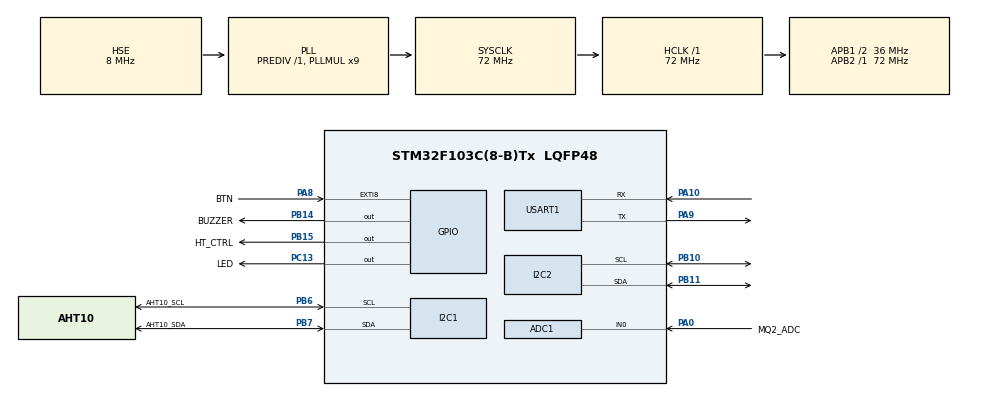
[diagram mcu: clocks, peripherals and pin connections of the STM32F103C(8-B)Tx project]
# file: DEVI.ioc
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ADC1.Channel-0\#ChannelRegularConversion=ADC_CHANNEL_0
ADC1.NbrOfConversionFlag=1
ADC1.Rank-0\#ChannelRegularConversion=1
ADC1.SamplingTime-0\#ChannelRegularConversion=ADC_SAMPLETIME_239CYCLES_5
ADC1.master=1
I2C1.I2C_Mode=I2C_Standard
Mcu.Family=STM32F1
Mcu.Name=STM32F103C(8-B)Tx
Mcu.Package=LQFP48
NVIC.EXTI9_5_IRQn=true\:2\:0\:true\:false\:true\:true\:true\:true
NVIC.PriorityGroup=NVIC_PRIORITYGROUP_4
NVIC.RTC_IRQn=true\:1\:0\:true\:false\:true\:true\:true\:true
NVIC.USART1_IRQn=true\:2\:0\:true\:false\:true\:true\:true\:true
PA0-WKUP.GPIO_Label=MQ2_ADC
PA0-WKUP.Signal=ADCx_IN0
PA10.Mode=Asynchronous
PA10.Signal=USART1_RX
PA13.Mode=Serial_Wire
PA13.Signal=SYS_JTMS-SWDIO
PA14.Mode=Serial_Wire
PA14.Signal=SYS_JTCK-SWCLK
PA8.GPIO_Label=BTN
PA8.GPIO_ModeDefaultEXTI=GPIO_MODE_IT_FALLING
PA8.Signal=GPXTI8
PA9.Mode=Asynchronous
PA9.Signal=USART1_TX
PB10.Mode=I2C
PB10.Signal=I2C2_SCL
PB11.Mode=I2C
PB11.Signal=I2C2_SDA
PB14.GPIO_Label=BUZZER
PB14.Signal=GPIO_Output
PB15.GPIO_Label=HT_CTRL
PB15.Signal=GPIO_Output
PB6.GPIO_Label=AHT10_SCL
PB6.Mode=I2C
PB6.Signal=I2C1_SCL
PB7.GPIO_Label=AHT10_SDA
PB7.Mode=I2C
PB7.Signal=I2C1_SDA
PC13-TAMPER-RTC.GPIO_Label=LED
PC13-TAMPER-RTC.Signal=GPIO_Output
PC14-OSC32_IN.Mode=LSE-External-Oscillator
PC14-OSC32_IN.Signal=RCC_OSC32_IN
PC15-OSC32_OUT.Mode=LSE-External-Oscillator
PC15-OSC32_OUT.Signal=RCC_OSC32_OUT
PD0-OSC_IN.Mode=HSE-External-Oscillator
PD0-OSC_IN.Signal=RCC_OSC_IN
PD1-OSC_OUT.Mode=HSE-External-Oscillator
PD1-OSC_OUT.Signal=RCC_OSC_OUT
ProjectManager.HeapSize=0x200
ProjectManager.StackSize=0x400
ProjectManager.TargetToolchain=STM32CubeIDE
RCC.ADCPresc=RCC_ADCPCLK2_DIV6
RCC.AHBFreq_Value=72000000
RCC.APB1CLKDivider=RCC_HCLK_DIV2
RCC.APB1Freq_Value=36000000
RCC.APB1TimFreq_Value=72000000
RCC.APB2Freq_Value=72000000
RCC.APB2TimFreq_Value=72000000
RCC.HCLKFreq_Value=72000000
RCC.PLLMUL=RCC_PLL_MUL9
RCC.PLLSourceVirtual=RCC_PLLSOURCE_HSE
RCC.RTCClockSelection=RCC_RTCCLKSOURCE_LSE
RCC.SYSCLKFreq_VALUE=72000000
RCC.SYSCLKSource=RCC_SYSCLKSOURCE_PLLCLK
RCC.USBFreq_Value=72000000
RTC.Date=23
RTC.Format=RTC_FORMAT_BIN
RTC.Hours=17
RTC.Minutes=56
RTC.Month=RTC_MONTH_SEPTEMBER
RTC.WeekDay=RTC_WEEKDAY_SATURDAY
RTC.Year=23
SH.ADCx_IN0.0=ADC1_IN0,IN0
USART1.VirtualMode=VM_ASYNC
VP_RTC_VS_RTC_Activate.Mode=RTC_Enabled
VP_RTC_VS_RTC_Calendar.Mode=RTC_Calendar
board=custom

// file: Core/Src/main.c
/* USER CODE BEGIN Header */
/* USER CODE END Header */
#include "main.h"

/* USER CODE BEGIN Includes */
#include "LiquidCrystal_I2C.h"
#include <stdbool.h>
#include <string.h>
#include <stdio.h>
#include <stdarg.h>
#include <math.h>
#include <stdlib.h>

/* USER CODE END Includes */

/* USER CODE BEGIN PTD */
typedef enum {
	INIT=0,
	IDLE,
	HEATING,
	MEASURING,
	COMMUNICATING
} StateDevice_Typdef;

typedef struct
{
	uint8_t btn_current;
	uint8_t btn_last;
	uint8_t btn_filter;
	bool is_debouncing;
	uint32_t time_deboune;
	uint32_t time_start_press;
	bool is_press_timeout;
	GPIO_TypeDef *GPIOx;
	uint16_t GPIO_Pin;
} Button_Typdef;

typedef struct
{
	GPIO_TypeDef *HT_GPIOx;
	uint16_t HT_GPIO_Pin;
	uint32_t start_heating_time;
	uint32_t previous_heating_time;
	ADC_HandleTypeDef* hadc;
	uint32_t Channel;
	uint32_t adc_value;
	bool is_heating;
	uint32_t ppm;
} MQSensor_Typdef;

typedef struct
{
	I2C_HandleTypeDef *hi2c;
	uint16_t SensAddress;
	float temp;
	float humi;
} AHTSensor_Typdef;

#pragma pack(1)
typedef struct {
	uint8_t flag;
	RTC_TimeTypeDef sTime;
	RTC_DateTypeDef sDate;
	uint32_t ppm;
	float humi;
	float tem;
} Sensor_Data_Typdef;
#pragma pack(1)

typedef struct {
	HAL_StatusTypeDef status;
	uint32_t pageError;

} MLB_EraseError;

/* USER CODE END PTD */

/* USER CODE BEGIN PD */
#define RTC_BKP_SET_TIME 0x2606
#define EL 5000
#define SHORT_PRESS_TIME 1000
#define HOLD_DOWN_TIME 3000
#define AHT10_ADDR 0x38

#define sizeofBuff 20

#define ADDRESS_DATA_STORAGE (0x08000000 + 63*1024)

#define SEND_TEST

/* USER CODE END PD */

ADC_HandleTypeDef hadc1;

I2C_HandleTypeDef hi2c1;
I2C_HandleTypeDef hi2c2;

RTC_HandleTypeDef hrtc;

UART_HandleTypeDef huart1;

/* USER CODE BEGIN PV */
LiquidCrystal_I2C hlcd;
uint8_t press_count = 0;
uint8_t double_count = 0;
uint8_t hold_count = 0;
bool flag = false;
Button_Typdef button1;
MQSensor_Typdef MQSensor;
AHTSensor_Typdef AHTSensor;
StateDevice_Typdef stateDevice = INIT;
Sensor_Data_Typdef data;

uint8_t rx_buffer[sizeofBuff];
uint8_t tx_buffer[sizeofBuff];
bool uart_flag = false;
bool ext_param = false;
bool disp_flag = true;
uint8_t ret;

float R0;
float Rs;
float RL = 1;
uint32_t var_EL = EL;

uint8_t arr_w[10] = {1,2,3,4,5,6,7,8,9,10};
uint8_t arr_r[10];
Sensor_Data_Typdef data_r;
Sensor_Data_Typdef data_w;

uint8_t setTime_flag=0;
uint8_t setDate_flag=0;
uint8_t setLevel_flag=0;

/* USER CODE END PV */

void SystemClock_Config(void);
static void MX_GPIO_Init(void);
static void MX_I2C1_Init(void);
static void MX_I2C2_Init(void);
static void MX_USART1_UART_Init(void);
static void MX_ADC1_Init(void);
static void MX_RTC_Init(void);
/* USER CODE BEGIN PFP */

void MQSensor_powerOn(MQSensor_Typdef *sensor, bool power);
void MQSensor_Init(MQSensor_Typdef *sensor, GPIO_TypeDef *HT_GPIOx, uint16_t HT_GPIO_Pin, ADC_HandleTypeDef* hadc,  uint32_t Channel);
HAL_StatusTypeDef MQSensor_get_adc(MQSensor_Typdef *sensor);
void MQSensor_powerOn(MQSensor_Typdef *sensor, bool power);
void MQSensor_calc(MQSensor_Typdef *sensor);

void AHTSensor_Init(AHTSensor_Typdef *sensor, I2C_HandleTypeDef *hi2c, uint16_t SensAddress);
void AHTSensor_Read(AHTSensor_Typdef *sensor);

void btn_pressing_callback(Button_Typdef *ButtonX);
void btn_press_short_callback(Button_Typdef *ButtonX);
void btn_release_callback(Button_Typdef *ButtonX);
void btn_press_timeout_callback(Button_Typdef *ButtonX);
void button_init(Button_Typdef *ButtonX,GPIO_TypeDef *GPIOx, uint16_t GPIO_Pin);
void button_handle(Button_Typdef *ButtonX);

void heating_display();
void measuring_display(bool isCpltMeas);
void idle_display();
void store_data();
void warning();
void send_OK();
void send_allData();
void communicating_handle();
void uart_handle();

HAL_StatusTypeDef send_test();

MLB_EraseError Flash_Earse(uint32_t address);

HAL_StatusTypeDef Flash_Write_Int(uint32_t address, int value);
void Flash_Write_Float(uint32_t address, float value);
HAL_StatusTypeDef Flash_Write_Array(uint32_t address, uint8_t *arr,  uint16_t len);
HAL_StatusTypeDef Flash_Write_Struct(uint32_t address, Sensor_Data_Typdef data);

int	Flash_Read_Int(uint32_t address);
float Flash_Read_Fload(uint32_t address);
HAL_StatusTypeDef Flash_Read_Array(uint32_t address, uint8_t *arr,  uint16_t len);
HAL_StatusTypeDef Flash_Read_Struct(uint32_t address, Sensor_Data_Typdef *data);

HAL_StatusTypeDef sendUart(UART_HandleTypeDef *huart, const char* str, ...);
HAL_StatusTypeDef setTime(RTC_HandleTypeDef *hrtc, char* str);
HAL_StatusTypeDef setDate(RTC_HandleTypeDef *hrtc, char* str);

/* USER CODE END PFP */

/* USER CODE BEGIN 0 */

void btn_pressing_callback(Button_Typdef *ButtonX)
{
	if (stateDevice == IDLE) {
		MQSensor_powerOn(&MQSensor, true);
		MQSensor.start_heating_time = HAL_GetTick();
		stateDevice = HEATING;
		lcd_clear_display(&hlcd);
		return;
	}

	if (stateDevice == HEATING) {
		lcd_clear_display(&hlcd);
		MQSensor_powerOn(&MQSensor, false);
		stateDevice = IDLE;
		return;
	}

	if (stateDevice == COMMUNICATING) {
		lcd_clear_display(&hlcd);
		stateDevice = IDLE;
		char str[] = "AHT03\n";
		HAL_UART_Transmit(&huart1, (uint8_t*) str, strlen(str), 500);
		return;
	}

}

void btn_press_short_callback(Button_Typdef *ButtonX)
{

}

void btn_release_callback(Button_Typdef *ButtonX)
{

}

void btn_press_timeout_callback(Button_Typdef *ButtonX)
{
	hold_count++;
	flag = true;
}

void button_init(Button_Typdef *ButtonX,GPIO_TypeDef *GPIOx, uint16_t GPIO_Pin)
{
	ButtonX->GPIOx = GPIOx;
	ButtonX->GPIO_Pin = GPIO_Pin;
}

void button_handle(Button_Typdef *ButtonX)
{
	/* */
	uint8_t sta = HAL_GPIO_ReadPin(ButtonX->GPIOx, ButtonX->GPIO_Pin);
	if (sta != ButtonX->btn_filter) {
		ButtonX->btn_filter = sta;
		ButtonX->is_debouncing = true;
		ButtonX->time_deboune = HAL_GetTick();
	}

	/* */
	if ((sta == ButtonX->btn_filter) && (HAL_GetTick() - ButtonX->time_deboune) > 15) {
		ButtonX->is_debouncing = false;
		ButtonX->btn_current = ButtonX->btn_filter;
	}

	/* */
	if (ButtonX->btn_current != ButtonX->btn_last)
	{
		if(ButtonX->btn_current == GPIO_PIN_RESET) // Press the button
		{
			ButtonX->is_press_timeout = true;
			btn_pressing_callback(ButtonX);
			ButtonX->time_start_press = HAL_GetTick();
		}
		else if(ButtonX->btn_current == GPIO_PIN_SET) // Release the button
		{
			if(HAL_GetTick() - ButtonX->time_start_press <= SHORT_PRESS_TIME)
			{
				btn_press_short_callback(ButtonX);
			}
			btn_release_callback(ButtonX);
			ButtonX->is_press_timeout = false;
		}
		ButtonX->btn_last = ButtonX->btn_current;
	}

	/* */
	if(ButtonX->is_press_timeout && (HAL_GetTick() - ButtonX->time_start_press >= HOLD_DOWN_TIME))
	{
		ButtonX->is_press_timeout = false;
		btn_press_timeout_callback(ButtonX);
	}

} /* END button_handle */

void MQSensor_Init(MQSensor_Typdef *sensor, GPIO_TypeDef *HT_GPIOx, uint16_t HT_GPIO_Pin, ADC_HandleTypeDef* hadc,  uint32_t Channel)
{
	sensor->HT_GPIOx = HT_GPIOx;
	sensor->HT_GPIO_Pin = HT_GPIO_Pin;
	sensor->hadc = hadc;
	sensor->Channel = Channel;

	HAL_ADCEx_Calibration_Start(sensor->hadc);

}

HAL_StatusTypeDef MQSensor_get_adc(MQSensor_Typdef *sensor)
{
	MQSensor_powerOn(&MQSensor, true);
	HAL_Delay(10);
	HAL_StatusTypeDef ret = HAL_OK;
	ADC_ChannelConfTypeDef sConfig = {0};
	sConfig.Channel = sensor->Channel;
	sConfig.Rank = ADC_REGULAR_RANK_1;
	sConfig.SamplingTime = ADC_SAMPLETIME_239CYCLES_5;
	if (HAL_ADC_ConfigChannel(sensor->hadc, &sConfig) != HAL_OK)
	{
		Error_Handler();
	}

	ret = HAL_ADC_Start(sensor->hadc);
	if(ret) {
		MQSensor_powerOn(&MQSensor, false);
		return ret;
	}
	ret = HAL_ADC_PollForConversion(sensor->hadc, 1000);
	if(ret) {
		MQSensor_powerOn(&MQSensor, false);
		return ret;
	}
	sensor->adc_value = HAL_ADC_GetValue(sensor->hadc);
	ret = HAL_ADC_Stop(sensor->hadc);
	if(ret) {
		MQSensor_powerOn(&MQSensor, false);
		return ret;
	}
	MQSensor_powerOn(&MQSensor, false);
	return ret;
}

void MQSensor_powerOn(MQSensor_Typdef *sensor, bool power)
{
	HAL_GPIO_WritePin(sensor->HT_GPIOx, sensor->HT_GPIO_Pin, power ? GPIO_PIN_SET : GPIO_PIN_RESET);
}

void MQSensor_calc(MQSensor_Typdef *sensor)
{
//	sensor->ppm = sensor->adc_value;
	Rs = 5*RL/((float)MQSensor.adc_value*3.3/4095)-RL;
	float y = Rs/R0;
	sensor->ppm = pow(10, (log(y)-0.85)/(-0.56));

}

void AHTSensor_Init(AHTSensor_Typdef *sensor, I2C_HandleTypeDef *hi2c, uint16_t SensAddress)
{
	sensor->SensAddress = SensAddress;
	sensor->hi2c = hi2c;

	uint8_t cmd[3];
	cmd[0] = 0xA8;
	cmd[1] = 0x00;
	cmd[2] = 0x00;
	HAL_I2C_Master_Transmit(sensor->hi2c, SensAddress<<1, cmd, 3, 1000);
	HAL_Delay(450);

	cmd[0] = 0xE1;
	cmd[1] = 0x08;
	cmd[2] = 0x00;
	HAL_I2C_Master_Transmit(sensor->hi2c, SensAddress<<1, cmd, 3, 1000);
	HAL_Delay(450);

}

void AHTSensor_Read(AHTSensor_Typdef *sensor)
{
	uint8_t cmd[3];
	uint8_t buff[6];
	cmd[0] = 0xAC;
	cmd[1] = 0x08;
	cmd[2] = 0x00;
	HAL_I2C_Master_Transmit(sensor->hi2c, sensor->SensAddress<<1, cmd, 3, 1000);
	HAL_Delay(300);
	HAL_I2C_Master_Receive(sensor->hi2c, sensor->SensAddress<<1, buff, 6, 1000);
	sensor->humi = (buff[1]<<12 | buff[2]<<4 | (buff[3] & 0xf0) >> 4) * 100.0 / (1 << 20);
	sensor->temp = ((buff[3] & 0xf) << 16 | buff[4] << 8 | buff[5]) * 200.0 / (1 << 20) - 55;
}

MLB_EraseError Flash_Earse(uint32_t address)
{
	MLB_EraseError eraseError;
	eraseError.status = HAL_ERROR;
	eraseError.pageError = 0;

	FLASH_EraseInitTypeDef EraseInit;
	EraseInit.Banks = FLASH_BANK_1;
	EraseInit.TypeErase = FLASH_TYPEERASE_PAGES;
	EraseInit.PageAddress = address;
	EraseInit.NbPages = 1;

	eraseError.status = HAL_FLASH_Unlock();
	if(eraseError.status)
		return eraseError;

	eraseError.status = HAL_FLASHEx_Erase(&EraseInit, &eraseError.pageError);
	if(eraseError.status)
		return eraseError;

	eraseError.status = HAL_FLASH_Lock();
	if(eraseError.status)
		return eraseError;

	return eraseError;
}

HAL_StatusTypeDef Flash_Write_Array(uint32_t address, uint8_t *arr,  uint16_t len)
{
	HAL_StatusTypeDef ret = HAL_OK;
	uint16_t *pt = (uint16_t *)arr;
	ret = HAL_FLASH_Unlock();
	if (ret)
		return ret;
	for (uint16_t i = 0; i < (len+1)/2; ++i) {
		ret = HAL_FLASH_Program(FLASH_TYPEPROGRAM_HALFWORD, address + 2*i, *pt);
		if (ret)
			return ret;
		pt++;
	}
	ret = HAL_FLASH_Lock();
	if (ret)
		return ret;

	return ret;
}

HAL_StatusTypeDef Flash_Read_Array(uint32_t address, uint8_t *arr,  uint16_t len)
{
	HAL_StatusTypeDef ret = HAL_OK;
	uint16_t *pt = (uint16_t *)arr;
	ret = HAL_FLASH_Unlock();
	if (ret)
		return ret;
	for (uint16_t i = 0; i < (len+1)/2; ++i) {
		*pt = *(uint16_t *)(address + 2*i);
		if (ret)
			return ret;
		pt++;
	}
	ret = HAL_FLASH_Lock();
	if (ret)
		return ret;
	return ret;
}

HAL_StatusTypeDef Flash_Write_Struct(uint32_t address, Sensor_Data_Typdef data)
{
	HAL_StatusTypeDef ret = Flash_Write_Array(address, (uint8_t*)&data, sizeof(data));
	return ret;
}

HAL_StatusTypeDef Flash_Read_Struct(uint32_t address, Sensor_Data_Typdef *data)
{
	HAL_StatusTypeDef ret = Flash_Read_Array(address, (uint8_t*)data, sizeof(Sensor_Data_Typdef));
	return ret;
}

void heating_display()
{
	if ((HAL_GetTick()-MQSensor.previous_heating_time) < 60000 && MQSensor.is_heating) {
		stateDevice = MEASURING;
		return;
	}
	uint8_t tick = 20 - (HAL_GetTick()-MQSensor.start_heating_time)/1000;
	lcd_set_cursor(&hlcd, 0, 0);
	lcd_printf(&hlcd, "Heating %2ds", tick);
	if (tick == 255) {
		MQSensor.previous_heating_time = HAL_GetTick();
		MQSensor.is_heating = true;
		stateDevice = MEASURING;
	}
}

void measuring_display(bool isCpltMeas)
{
	if (isCpltMeas)
	{
		lcd_clear_display(&hlcd);
		lcd_set_cursor(&hlcd, 0, 0);
		lcd_printf(&hlcd, "Gas %4ld PPM", MQSensor.ppm);
		stateDevice = IDLE;

	}
	else {
		lcd_clear_display(&hlcd);
		lcd_set_cursor(&hlcd, 0, 0);
		lcd_printf(&hlcd, "Measuring ...");
	}
}

void idle_display()
{
	lcd_set_cursor(&hlcd, 1, 0);
	lcd_printf(&hlcd, "Press to measure");
}

void store_data()
{
	HAL_RTC_GetTime(&hrtc, &data_w.sTime, RTC_FORMAT_BIN);
	HAL_RTC_GetDate(&hrtc, &data_w.sDate, RTC_FORMAT_BIN);
	data_w.ppm = MQSensor.ppm;
	data_w.tem = AHTSensor.temp;
	data_w.humi = AHTSensor.humi;
	data_w.flag = 0;

	uint32_t addr = HAL_RTCEx_BKUPRead(&hrtc, RTC_BKP_DR2);
	Flash_Read_Struct(addr, &data_r);

	if ((!addr) || (data_r.flag==0)) {
		Flash_Earse(ADDRESS_DATA_STORAGE);
		addr = ADDRESS_DATA_STORAGE - ((sizeof(Sensor_Data_Typdef)+1)/2)*2;
	}
	else if (addr > (0x08000000 + 64*1024 - 2*(((sizeof(Sensor_Data_Typdef)+1)/2)*2)))
	{
		Sensor_Data_Typdef data[9];
		for (uint8_t i = 0; i < 9; ++i) {
			Flash_Read_Struct(addr-9-i, &data[i]);
		}
		addr = ADDRESS_DATA_STORAGE;
		Flash_Earse(ADDRESS_DATA_STORAGE);
		for (uint8_t i = 0; i < 9; ++i) {
			Flash_Write_Struct(addr, data[i]);
			addr+=((sizeof(Sensor_Data_Typdef)+1)/2)*2;
		}
	}

	Flash_Write_Struct(addr, data_w);
	HAL_RTCEx_BKUPWrite(&hrtc, RTC_BKP_DR2, addr+((sizeof(Sensor_Data_Typdef)+1)/2)*2);

	// store
}

void warning()
{
		HAL_GPIO_WritePin(BUZZER_GPIO_Port, BUZZER_Pin, (MQSensor.ppm > var_EL) ? GPIO_PIN_SET : GPIO_PIN_RESET);
}

void send_OK()
{
	char str[] = "AHT00\n";
	HAL_UART_Transmit(&huart1, (uint8_t*) str, strlen(str), 1000);
}

void send_allData()
{
	uint32_t addr = HAL_RTCEx_BKUPRead(&hrtc, RTC_BKP_DR2);
	if (addr==0 || addr==ADDRESS_DATA_STORAGE) {
		sendUart(&huart1, "{}");
		send_OK();
		return;
	}
	uint32_t rate = ((sizeof(Sensor_Data_Typdef)+1)/2)*2;

	Sensor_Data_Typdef data_n;
	for (uint8_t i = 0; i < 10; ++i) {
		if ((addr-(i+1)*rate + 0x08000000) < ADDRESS_DATA_STORAGE) break;
		Flash_Read_Struct(addr-(i+1)*rate, &data_n);
		sendUart(&huart1, "{\"date\":\"20%02d-%02d-%02d\",\"time\":\"%02d:%02d:%02d\",\"ppm\":%d,\"humi\":%.2f,\"tem\":%.2f}",
				data_n.sDate.Year, data_n.sDate.Month, data_n.sDate.Date,
				data_n.sTime.Hours, data_n.sTime.Minutes, data_n.sTime.Seconds,
				data_n.ppm, data_n.humi, data_n.tem);
	}
	send_OK();
	return;
}

HAL_StatusTypeDef sendUart(UART_HandleTypeDef *huart, const char* str, ...)
{
	char pData[100];
	va_list args;
	va_start(args, str);
	vsprintf(pData, str, args);

	va_end(args);
	return HAL_UART_Transmit(huart, (uint8_t *)pData, strlen((char*)pData), 300);
}

HAL_StatusTypeDef printDebug(UART_HandleTypeDef *huart, char *pData, const char* str, ...)
{
	 va_list args;
	 va_start(args, str);
	 vsprintf(pData, str, args);

	 va_end(args);
	 return HAL_UART_Transmit(huart, (uint8_t *)pData, strlen((char*)pData), 1000);

}

HAL_StatusTypeDef send_test()
{
#ifdef SEND_TEST
	RTC_TimeTypeDef sTime = {0};
	RTC_DateTypeDef sDay = {0};
	uint8_t tx_buff[50];
	HAL_RTC_GetTime(&hrtc, &sTime, RTC_FORMAT_BIN);
	sprintf((char *)tx_buff, "%d:%d:%d\n", sTime.Hours , sTime.Minutes, sTime.Seconds);
	ret = HAL_UART_Transmit(&huart1, tx_buff, strlen((char*)tx_buff), 1000);

	HAL_RTC_GetDate(&hrtc, &sDay, RTC_FORMAT_BIN);
	sprintf((char *)tx_buff, "%d-%d/%d/%d\n", sDay.WeekDay , sDay.Date, sDay.Month, sDay.Year);
	ret = HAL_UART_Transmit(&huart1, tx_buff, strlen((char*)tx_buff), 1000);

	uint32_t check = HAL_RTCEx_BKUPRead(&hrtc, RTC_BKP_DR2);
	sprintf((char *)tx_buff, "RTC_BKP_DR2=%2ld\n", check);
	ret = HAL_UART_Transmit(&huart1, tx_buff, strlen((char*)tx_buff), 1000);

	/*
	Flash_Earse(ADDRESS_DATA_STORAGE);
	Flash_Write_Array(ADDRESS_DATA_STORAGE, arr_w, 10);
	Flash_Read_Array(ADDRESS_DATA_STORAGE, arr_r, 10);
	for (uint8_t i = 0; i < 10; ++i) {
		sprintf((char *)tx_buff, "%d\n", arr_r[i]);
		ret = HAL_UART_Transmit(&huart1, tx_buff, strlen((char*)tx_buff), 100);
	}
	*/

	data_w.flag = 0;
	data_w.sDate = sDay;
	data_w.sTime = sTime;
	data_w.ppm = MQSensor.ppm;
	sprintf((char *)tx_buff, "Address data_w=%ld\nSzie data_w=%d\n", (uint32_t)&data_w, sizeof(data_w));
	ret = HAL_UART_Transmit(&huart1, tx_buff, strlen((char*)tx_buff), 1000);

	ret = Flash_Read_Struct(check+((sizeof(Sensor_Data_Typdef)+1)/2)*2, &data_r);
	if ((!check) || (data_r.flag==0)) {
		Flash_Earse(ADDRESS_DATA_STORAGE);
		check = ADDRESS_DATA_STORAGE - ((sizeof(Sensor_Data_Typdef)+1)/2)*2;
	}

//	sprintf((char *)tx_buff, "data_r.flag=%d\n!data_r.flag=%d\n", data_r.flag, !data_r.flag);
//	ret = HAL_UART_Transmit(&huart1, tx_buff, strlen((char*)tx_buff), 1000);

	ret = Flash_Write_Struct(check+((sizeof(Sensor_Data_Typdef)+1)/2)*2, data_w);
	HAL_RTCEx_BKUPWrite(&hrtc, RTC_BKP_DR2, check+((sizeof(Sensor_Data_Typdef)+1)/2)*2);

	check = HAL_RTCEx_BKUPRead(&hrtc, RTC_BKP_DR2);
	sprintf((char *)tx_buff, "RTC_BKP_DR2=%2ld\n", check);
	ret = HAL_UART_Transmit(&huart1, tx_buff, strlen((char*)tx_buff), 1000);

	ret = Flash_Read_Struct(check, &data_r);
	sprintf((char *)tx_buff, "Time=%d:%d:%d\n", data_r.sTime.Hours , data_r.sTime.Minutes, data_r.sTime.Seconds);
	ret = HAL_UART_Transmit(&huart1, tx_buff, strlen((char*)tx_buff), 1000);
	sprintf((char *)tx_buff, "Date=%d-%d/%d/%d\n", data_r.sDate.WeekDay , data_r.sDate.Date, data_r.sDate.Month, data_r.sDate.Year);
	ret = HAL_UART_Transmit(&huart1, tx_buff, strlen((char*)tx_buff), 1000);
	sprintf((char *)tx_buff, "PPM=%ld\n", data_r.ppm);
	ret = HAL_UART_Transmit(&huart1, tx_buff, strlen((char*)tx_buff), 1000);

	AHTSensor_Read(&AHTSensor); // AHTSensor.humi
//	sprintf((char *)tx_buff, "AHT: humi=%.2f temp=%.2f\n", AHTSensor.humi, AHTSensor.temp);
	printDebug(&huart1, (char *)tx_buff, "AHT: humi=%.2f temp=%.2f\n", AHTSensor.humi, AHTSensor.temp);

	return ret;
#endif /* SEND_TEST */
}

HAL_StatusTypeDef setTime(RTC_HandleTypeDef *hrtc, char* str)
{
	RTC_TimeTypeDef sTime = {0};
	char* token = strtok(str, " ");
	sTime.Hours = atoi(token);
	token = strtok(NULL, " ");
	sTime.Minutes = atoi(token);
	token = strtok(NULL, " ");
	sTime.Seconds = atoi(token);

	return HAL_RTC_SetTime(hrtc, &sTime, RTC_FORMAT_BIN);
}

HAL_StatusTypeDef setDate(RTC_HandleTypeDef *hrtc, char* str)
{
	RTC_DateTypeDef DateToUpdate = {0};
	char* token = strtok(str, " ");
	DateToUpdate.Year = atoi(token);
	token = strtok(NULL, " ");
	DateToUpdate.Month = atoi(token);
	token = strtok(NULL, " ");
	DateToUpdate.Date = atoi(token);

	return HAL_RTC_SetDate(hrtc, &DateToUpdate, RTC_FORMAT_BIN);
}

void communicating_handle()
{
	if (disp_flag) {
		lcd_set_cursor(&hlcd, 0, 0);
		lcd_printf(&hlcd, "Communicating ...");
		disp_flag = false;
	}
	if (uart_flag)
	{
		uart_flag = false;

		if (strlen((char *)rx_buffer) > 5)
		{
			HAL_UART_Receive_IT(&huart1, rx_buffer, 5);

			if (setLevel_flag) {
				setLevel_flag = 0;
				var_EL = atoi((char *)rx_buffer);
				memset((char *)rx_buffer, '\0', sizeofBuff);
				sendUart(&huart1, "AT00\n");
				return;
			}

			if (setTime_flag) {
				setTime_flag = 0;
				if (setTime(&hrtc, (char *)rx_buffer)) {
					sendUart(&huart1, "AT02\n");
					return;
				}
				sendUart(&huart1, "AT00\n");
				return;
			}

			if (setDate_flag) {
				setDate_flag = 0;
				if (setDate(&hrtc, (char *)rx_buffer)) {
					sendUart(&huart1, "AT02\n");
					return;
				}
				sendUart(&huart1, "AT00\n");
				return;
			}
		}

		// Request Connect
		if (!strcmp((char *)rx_buffer, "AT01")) {
			send_OK();
			memset((char *)rx_buffer, '\0', sizeofBuff);
			ret = HAL_UART_Receive_IT(&huart1, rx_buffer, 5);
			return;
		}

		// Close Connect
		if (!strcmp((char *)rx_buffer, "AT04")) {
			send_OK();
			memset((char *)rx_buffer, '\0', sizeofBuff);
			ret = HAL_UART_Receive_IT(&huart1, rx_buffer, 5);
			stateDevice = IDLE;
			lcd_clear_display(&hlcd);
			return;
		}

		// TEST
		if (!strcmp((char *)rx_buffer, "AT05")) {
//			send_OK();
			memset((char *)rx_buffer, '\0', sizeofBuff);
			send_test();
			ret = HAL_UART_Receive_IT(&huart1, rx_buffer, 5);
			return;
		}

		// all Data
		if (!strcmp((char *)rx_buffer, "AT06")) {
			send_allData();
			memset((char *)rx_buffer, '\0', sizeofBuff);
			ret = HAL_UART_Receive_IT(&huart1, rx_buffer, 5);
			return;
		}

		// set Time
		if (!strcmp((char *)rx_buffer, "AT07")) {
			send_OK();
			setTime_flag = 1;
			memset((char *)rx_buffer, '\0', sizeofBuff);
			ret = HAL_UART_Receive_IT(&huart1, rx_buffer, 9);
			return;
		}

		// set Day
		if (!strcmp((char *)rx_buffer, "AT08")) {
			send_OK();
			setDate_flag = 1;
			memset((char *)rx_buffer, '\0', sizeofBuff);
			ret = HAL_UART_Receive_IT(&huart1, rx_buffer, 9);
			return;
		}

		// set Threshold
		if (!strcmp((char *)rx_buffer, "AT09")) {
			send_OK();
			setLevel_flag = 1;
			memset((char *)rx_buffer, '\0', sizeofBuff);
			ret = HAL_UART_Receive_IT(&huart1, rx_buffer, 7);
			return;
		}

		// delete flash
		if (!strcmp((char *)rx_buffer, "AT11")) {
			send_OK();
			Flash_Earse(ADDRESS_DATA_STORAGE);
			HAL_RTCEx_BKUPWrite(&hrtc, RTC_BKP_DR2, 0);
			memset((char *)rx_buffer, '\0', sizeofBuff);
			ret = HAL_UART_Receive_IT(&huart1, rx_buffer, 5);
			return;
		}

		HAL_UART_Receive_IT(&huart1, rx_buffer, 5);
	}
}

void uart_handle()
{
	if (uart_flag) {
		if (stateDevice == IDLE) {
			if (!strcmp((char *)rx_buffer, "AT01")) {
				lcd_clear_display(&hlcd);
				stateDevice = COMMUNICATING;
				disp_flag = true;
				return;
			}
			else
			{
				memset((char *)rx_buffer, '\0', sizeofBuff);
				HAL_UART_Receive_IT(&huart1, rx_buffer, 5);
				return;
			}
		}

		if (stateDevice == COMMUNICATING) {

		}
	}
}

/* USER CODE END 0 */

int main(void)
{

  /* MCU Configuration--------------------------------------------------------*/

  /* Reset of all peripherals, Initializes the Flash interface and the Systick. */
  HAL_Init();

  /* Configure the system clock */
  SystemClock_Config();

  /* Initialize all configured peripherals */
  MX_GPIO_Init();
  MX_I2C1_Init();
  MX_I2C2_Init();
  MX_USART1_UART_Init();
  MX_ADC1_Init();
  MX_RTC_Init();
  /* USER CODE BEGIN 2 */

  lcd_init(&hlcd, &hi2c2, LCD_ADDR_DEFAULT);
  button_init(&button1, GPIOA, GPIO_PIN_8);
  MQSensor_Init(&MQSensor, HT_CTRL_GPIO_Port, HT_CTRL_Pin, &hadc1, ADC_CHANNEL_0);
  AHTSensor_Init(&AHTSensor, &hi2c1, AHT10_ADDR);

  stateDevice = IDLE;

  disp_flag = true;
  HAL_UART_Receive_IT(&huart1, rx_buffer, 5);
  AHTSensor_Read(&AHTSensor);
  idle_display();
//  MQSensor_powerOn(&MQSensor, true);
//  HAL_Delay(20000);
//
//  MQSensor_get_adc(&MQSensor);
//  MQSensor_powerOn(&MQSensor, false);
  MQSensor_get_adc(&MQSensor);
  R0 = 5*RL/((float)MQSensor.adc_value*3.3/4095)-RL;

  /* USER CODE END 2 */

  /* Infinite loop */
  /* USER CODE BEGIN WHILE */
  while (1)
  {
	  button_handle(&button1);
	  switch (stateDevice) {
	  	case IDLE:
	  		idle_display();
	  		uart_handle();
	  		break;
		case HEATING:
			heating_display();
			break;
		case MEASURING:
			measuring_display(false);
			MQSensor_get_adc(&MQSensor);
			MQSensor_calc(&MQSensor);
			warning();
			AHTSensor_Read(&AHTSensor);
			measuring_display(true);
			store_data();
			break;
		case COMMUNICATING:
			communicating_handle();
			break;
		default:
			stateDevice = IDLE;
			break;
	}

  }
    /* USER CODE END WHILE */

}

void SystemClock_Config(void)
{
  RCC_OscInitTypeDef RCC_OscInitStruct = {0};
  RCC_ClkInitTypeDef RCC_ClkInitStruct = {0};
  RCC_PeriphCLKInitTypeDef PeriphClkInit = {0};

  /** Initializes the RCC Oscillators according to the specified parameters
  * in the RCC_OscInitTypeDef structure.
  */
  RCC_OscInitStruct.OscillatorType = RCC_OSCILLATORTYPE_HSE|RCC_OSCILLATORTYPE_LSE;
  RCC_OscInitStruct.HSEState = RCC_HSE_ON;
  RCC_OscInitStruct.HSEPredivValue = RCC_HSE_PREDIV_DIV1;
  RCC_OscInitStruct.LSEState = RCC_LSE_ON;
  RCC_OscInitStruct.HSIState = RCC_HSI_ON;
  RCC_OscInitStruct.PLL.PLLState = RCC_PLL_ON;
  RCC_OscInitStruct.PLL.PLLSource = RCC_PLLSOURCE_HSE;
  RCC_OscInitStruct.PLL.PLLMUL = RCC_PLL_MUL9;
  if (HAL_RCC_OscConfig(&RCC_OscInitStruct) != HAL_OK)
  {
    Error_Handler();
  }

  /** Initializes the CPU, AHB and APB buses clocks
  */
  RCC_ClkInitStruct.ClockType = RCC_CLOCKTYPE_HCLK|RCC_CLOCKTYPE_SYSCLK
                              |RCC_CLOCKTYPE_PCLK1|RCC_CLOCKTYPE_PCLK2;
  RCC_ClkInitStruct.SYSCLKSource = RCC_SYSCLKSOURCE_PLLCLK;
  RCC_ClkInitStruct.AHBCLKDivider = RCC_SYSCLK_DIV1;
  RCC_ClkInitStruct.APB1CLKDivider = RCC_HCLK_DIV2;
  RCC_ClkInitStruct.APB2CLKDivider = RCC_HCLK_DIV1;

  if (HAL_RCC_ClockConfig(&RCC_ClkInitStruct, FLASH_LATENCY_2) != HAL_OK)
  {
    Error_Handler();
  }
  PeriphClkInit.PeriphClockSelection = RCC_PERIPHCLK_RTC|RCC_PERIPHCLK_ADC;
  PeriphClkInit.RTCClockSelection = RCC_RTCCLKSOURCE_LSE;
  PeriphClkInit.AdcClockSelection = RCC_ADCPCLK2_DIV6;
  if (HAL_RCCEx_PeriphCLKConfig(&PeriphClkInit) != HAL_OK)
  {
    Error_Handler();
  }
}

static void MX_ADC1_Init(void)
{

  ADC_ChannelConfTypeDef sConfig = {0};

  /** Common config
  */
  hadc1.Instance = ADC1;
  hadc1.Init.ScanConvMode = ADC_SCAN_DISABLE;
  hadc1.Init.ContinuousConvMode = DISABLE;
  hadc1.Init.DiscontinuousConvMode = DISABLE;
  hadc1.Init.ExternalTrigConv = ADC_SOFTWARE_START;
  hadc1.Init.DataAlign = ADC_DATAALIGN_RIGHT;
  hadc1.Init.NbrOfConversion = 1;
  if (HAL_ADC_Init(&hadc1) != HAL_OK)
  {
    Error_Handler();
  }

  /** Configure Regular Channel
  */
  sConfig.Channel = ADC_CHANNEL_0;
  sConfig.Rank = ADC_REGULAR_RANK_1;
  sConfig.SamplingTime = ADC_SAMPLETIME_239CYCLES_5;
  if (HAL_ADC_ConfigChannel(&hadc1, &sConfig) != HAL_OK)
  {
    Error_Handler();
  }

}

static void MX_I2C1_Init(void)
{

  hi2c1.Instance = I2C1;
  hi2c1.Init.ClockSpeed = 100000;
  hi2c1.Init.DutyCycle = I2C_DUTYCYCLE_2;
  hi2c1.Init.OwnAddress1 = 0;
  hi2c1.Init.AddressingMode = I2C_ADDRESSINGMODE_7BIT;
  hi2c1.Init.DualAddressMode = I2C_DUALADDRESS_DISABLE;
  hi2c1.Init.OwnAddress2 = 0;
  hi2c1.Init.GeneralCallMode = I2C_GENERALCALL_DISABLE;
  hi2c1.Init.NoStretchMode = I2C_NOSTRETCH_DISABLE;
  if (HAL_I2C_Init(&hi2c1) != HAL_OK)
  {
    Error_Handler();
  }

}

static void MX_I2C2_Init(void)
{

  hi2c2.Instance = I2C2;
  hi2c2.Init.ClockSpeed = 100000;
  hi2c2.Init.DutyCycle = I2C_DUTYCYCLE_2;
  hi2c2.Init.OwnAddress1 = 0;
  hi2c2.Init.AddressingMode = I2C_ADDRESSINGMODE_7BIT;
  hi2c2.Init.DualAddressMode = I2C_DUALADDRESS_DISABLE;
  hi2c2.Init.OwnAddress2 = 0;
  hi2c2.Init.GeneralCallMode = I2C_GENERALCALL_DISABLE;
  hi2c2.Init.NoStretchMode = I2C_NOSTRETCH_DISABLE;
  if (HAL_I2C_Init(&hi2c2) != HAL_OK)
  {
    Error_Handler();
  }

}

static void MX_RTC_Init(void)
{

  RTC_TimeTypeDef sTime = {0};
  RTC_DateTypeDef DateToUpdate = {0};

  /** Initialize RTC Only
  */
  hrtc.Instance = RTC;
  hrtc.Init.AsynchPrediv = RTC_AUTO_1_SECOND;
  hrtc.Init.OutPut = RTC_OUTPUTSOURCE_ALARM;
  if (HAL_RTC_Init(&hrtc) != HAL_OK)
  {
    Error_Handler();
  }

  /* USER CODE BEGIN Check_RTC_BKUP */
  if (HAL_RTCEx_BKUPRead(&hrtc, RTC_BKP_DR1) != RTC_BKP_SET_TIME)
  {
	  	sTime.Hours = 18;
	    sTime.Minutes = 5;
	    sTime.Seconds = 0;

	    if (HAL_RTC_SetTime(&hrtc, &sTime, RTC_FORMAT_BIN) != HAL_OK)
	    {
	      Error_Handler();
	    }
	    DateToUpdate.WeekDay = RTC_WEEKDAY_SATURDAY;
	    DateToUpdate.Month = RTC_MONTH_SEPTEMBER;
	    DateToUpdate.Date = 23;
	    DateToUpdate.Year = 23;

	    if (HAL_RTC_SetDate(&hrtc, &DateToUpdate, RTC_FORMAT_BIN) != HAL_OK)
	    {
	      Error_Handler();
	    }
  }

  HAL_RTCEx_BKUPWrite(&hrtc, RTC_BKP_DR1, RTC_BKP_SET_TIME);
  /* USER CODE END Check_RTC_BKUP */

  /** Initialize RTC and set the Time and Date
  */
  sTime.Hours = 17;
  sTime.Minutes = 56;
  sTime.Seconds = 0;

  if (HAL_RTC_SetTime(&hrtc, &sTime, RTC_FORMAT_BIN) != HAL_OK)
  {
    Error_Handler();
  }
  DateToUpdate.WeekDay = RTC_WEEKDAY_SATURDAY;
  DateToUpdate.Month = RTC_MONTH_SEPTEMBER;
  DateToUpdate.Date = 23;
  DateToUpdate.Year = 23;

  if (HAL_RTC_SetDate(&hrtc, &DateToUpdate, RTC_FORMAT_BIN) != HAL_OK)
  {
    Error_Handler();
  }

}

static void MX_USART1_UART_Init(void)
{

  huart1.Instance = USART1;
  huart1.Init.BaudRate = 115200;
  huart1.Init.WordLength = UART_WORDLENGTH_8B;
  huart1.Init.StopBits = UART_STOPBITS_1;
  huart1.Init.Parity = UART_PARITY_NONE;
  huart1.Init.Mode = UART_MODE_TX_RX;
  huart1.Init.HwFlowCtl = UART_HWCONTROL_NONE;
  huart1.Init.OverSampling = UART_OVERSAMPLING_16;
  if (HAL_UART_Init(&huart1) != HAL_OK)
  {
    Error_Handler();
  }

}

static void MX_GPIO_Init(void)
{
  GPIO_InitTypeDef GPIO_InitStruct = {0};

  /* GPIO Ports Clock Enable */
  __HAL_RCC_GPIOC_CLK_ENABLE();
  __HAL_RCC_GPIOD_CLK_ENABLE();
  __HAL_RCC_GPIOA_CLK_ENABLE();
  __HAL_RCC_GPIOB_CLK_ENABLE();

  /*Configure GPIO pin Output Level */
  HAL_GPIO_WritePin(LED_GPIO_Port, LED_Pin, GPIO_PIN_RESET);

  /*Configure GPIO pin Output Level */
  HAL_GPIO_WritePin(GPIOB, BUZZER_Pin|HT_CTRL_Pin, GPIO_PIN_RESET);

  /*Configure GPIO pin : LED_Pin */
  GPIO_InitStruct.Pin = LED_Pin;
  GPIO_InitStruct.Mode = GPIO_MODE_OUTPUT_PP;
  GPIO_InitStruct.Pull = GPIO_NOPULL;
  GPIO_InitStruct.Speed = GPIO_SPEED_FREQ_LOW;
  HAL_GPIO_Init(LED_GPIO_Port, &GPIO_InitStruct);

  /*Configure GPIO pins : BUZZER_Pin HT_CTRL_Pin */
  GPIO_InitStruct.Pin = BUZZER_Pin|HT_CTRL_Pin;
  GPIO_InitStruct.Mode = GPIO_MODE_OUTPUT_PP;
  GPIO_InitStruct.Pull = GPIO_NOPULL;
  GPIO_InitStruct.Speed = GPIO_SPEED_FREQ_LOW;
  HAL_GPIO_Init(GPIOB, &GPIO_InitStruct);

  /*Configure GPIO pin : BTN_Pin */
  GPIO_InitStruct.Pin = BTN_Pin;
  GPIO_InitStruct.Mode = GPIO_MODE_IT_FALLING;
  GPIO_InitStruct.Pull = GPIO_NOPULL;
  HAL_GPIO_Init(BTN_GPIO_Port, &GPIO_InitStruct);

  /* EXTI interrupt init*/
  HAL_NVIC_SetPriority(EXTI9_5_IRQn, 2, 0);
  HAL_NVIC_EnableIRQ(EXTI9_5_IRQn);

}

/* USER CODE BEGIN 4 */
void HAL_GPIO_EXTI_Callback(uint16_t GPIO_Pin)
{
  /* Prevent unused argument(s) compilation warning */
  UNUSED(GPIO_Pin);
  /* NOTE: This function Should not be modified, when the callback is needed,
           the HAL_GPIO_EXTI_Callback could be implemented in the user file
   */
  if (GPIO_Pin == GPIO_PIN_8) {

  }
}

void HAL_UART_RxCpltCallback(UART_HandleTypeDef *huart)
{
  /* Prevent unused argument(s) compilation warning */
  UNUSED(huart);
  /* NOTE: This function should not be modified, when the callback is needed,
           the HAL_UART_RxCpltCallback could be implemented in the user file
   */
  uart_flag = true;
}

/* USER CODE END 4 */

void Error_Handler(void)
{
}
